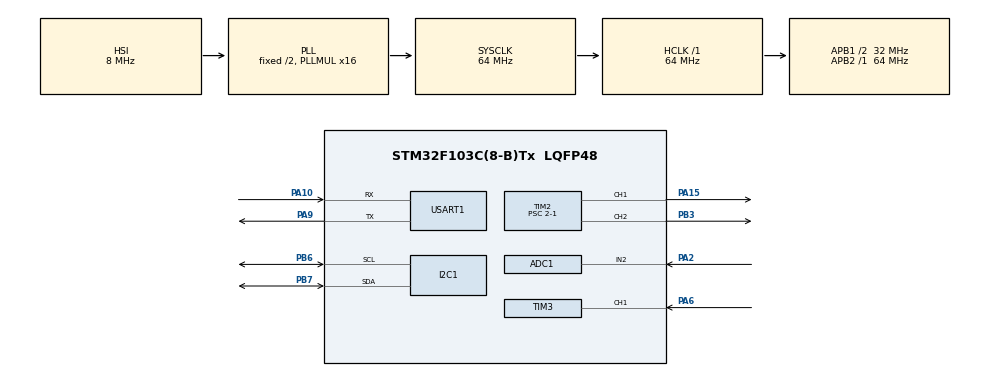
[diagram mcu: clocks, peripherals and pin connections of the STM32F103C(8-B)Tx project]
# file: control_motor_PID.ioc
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ADC1.Channel-2\#ChannelRegularConversion=ADC_CHANNEL_2
ADC1.NbrOfConversionFlag=1
ADC1.Rank-2\#ChannelRegularConversion=1
ADC1.SamplingTime-2\#ChannelRegularConversion=ADC_SAMPLETIME_1CYCLE_5
ADC1.master=1
Mcu.Family=STM32F1
Mcu.Name=STM32F103C(8-B)Tx
Mcu.Package=LQFP48
NVIC.PriorityGroup=NVIC_PRIORITYGROUP_4
NVIC.TIM3_IRQn=true\:0\:0\:false\:false\:true\:true\:true\:true
PA10.Mode=Multiprocessor_communication
PA10.Signal=USART1_RX
PA13.Mode=Serial_Wire
PA13.Signal=SYS_JTMS-SWDIO
PA14.Mode=Serial_Wire
PA14.Signal=SYS_JTCK-SWCLK
PA15.Signal=S_TIM2_CH1_ETR
PA2.Signal=ADCx_IN2
PA6.Signal=S_TIM3_CH1
PA9.Mode=Multiprocessor_communication
PA9.Signal=USART1_TX
PB3.Signal=S_TIM2_CH2
PB6.Mode=I2C
PB6.Signal=I2C1_SCL
PB7.Mode=I2C
PB7.Signal=I2C1_SDA
ProjectManager.HeapSize=0x200
ProjectManager.StackSize=0x400
ProjectManager.TargetToolchain=STM32CubeIDE
RCC.ADCPresc=RCC_ADCPCLK2_DIV6
RCC.AHBFreq_Value=64000000
RCC.APB1CLKDivider=RCC_HCLK_DIV2
RCC.APB1Freq_Value=32000000
RCC.APB1TimFreq_Value=64000000
RCC.APB2Freq_Value=64000000
RCC.APB2TimFreq_Value=64000000
RCC.HCLKFreq_Value=64000000
RCC.PLLMUL=RCC_PLL_MUL16
RCC.SYSCLKFreq_VALUE=64000000
RCC.SYSCLKSource=RCC_SYSCLKSOURCE_PLLCLK
RCC.USBFreq_Value=64000000
SH.ADCx_IN2.0=ADC1_IN2,IN2
SH.S_TIM2_CH1_ETR.0=TIM2_CH1,PWM Generation1 CH1
SH.S_TIM2_CH2.0=TIM2_CH2,PWM Generation2 CH2
SH.S_TIM3_CH1.0=TIM3_CH1,Input_Capture1_from_TI1
TIM2.Channel-PWM\ Generation1\ CH1=TIM_CHANNEL_1
TIM2.Channel-PWM\ Generation2\ CH2=TIM_CHANNEL_2
TIM2.Period=6400-1
TIM2.Prescaler=2-1
TIM3.Channel-Input_Capture1_from_TI1=TIM_CHANNEL_1
USART1.VirtualMode=VM_ASYNC
board=custom

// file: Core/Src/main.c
/* USER CODE BEGIN Header */
/**
  ******************************************************************************
  * @file           : main.c
  * @brief          : Main program body
  ******************************************************************************
  * @attention
  *
  * Copyright (c) 2025 STMicroelectronics.
  * All rights reserved.
  *
  * This software is licensed under terms that can be found in the LICENSE file
  * in the root directory of this software component.
  * If no LICENSE file comes with this software, it is provided AS-IS.
  *
  ******************************************************************************
  */
/* USER CODE END Header */
#include "main.h"

/* USER CODE BEGIN Includes */
#include <stdio.h>
#include "string.h"
#include "i2c_lcd.h"
/* USER CODE END Includes */

/* USER CODE BEGIN PD */
#define PULSES_PER_REV 20 // Encoder: 20 xung/vòng
#define PID_UPDATE_MS 100 // Cập nhật PID mỗi 100 ms
#define PWM_MAX 6399 // Giá trị PWM tối đa (100% duty)
/* USER CODE END PD */

ADC_HandleTypeDef hadc1;

I2C_HandleTypeDef hi2c1;

TIM_HandleTypeDef htim2;
TIM_HandleTypeDef htim3;

UART_HandleTypeDef huart1;

/* USER CODE BEGIN PV */
I2C_LCD_HandleTypeDef lcd;

char uart_buf[50];
char lcd_buf[50];
uint16_t adc_value = 0;
float setpoint_rpm = 0.0f;
float actual_rpm = 0.0f;
uint32_t pwm_value = 0;
volatile uint32_t pulse_count = 0; // �?ếm xung encoder

// Biến PID
float Kp = 2.0f, Ki = 0.1f, Kd = 0.0f;
float integral = 0.0f;
float last_error = 0.0f;

/* USER CODE END PV */

void SystemClock_Config(void);
static void MX_GPIO_Init(void);
static void MX_ADC1_Init(void);
static void MX_I2C1_Init(void);
static void MX_TIM2_Init(void);
static void MX_USART1_UART_Init(void);
static void MX_TIM3_Init(void);
/* USER CODE BEGIN PFP */
float calculate_pid(float setpoint, float actual);
/* USER CODE END PFP */

/* USER CODE BEGIN 0 */

void HAL_TIM_IC_CaptureCallback(TIM_HandleTypeDef *htim)
{
  if (htim->Instance == TIM3 && htim->Channel == HAL_TIM_ACTIVE_CHANNEL_1)
  {
    pulse_count++; // Tăng số xung
    // Debug interrupt
    snprintf(uart_buf, sizeof(uart_buf), "TIM3 Interrupt: Pulse %lu\r\n", pulse_count);
    HAL_UART_Transmit(&huart1, (uint8_t*)uart_buf, strlen(uart_buf), 100);
  }
}
/* USER CODE END 0 */

int main(void)
{

  /* MCU Configuration--------------------------------------------------------*/

  /* Reset of all peripherals, Initializes the Flash interface and the Systick. */
  HAL_Init();

  /* Configure the system clock */
  SystemClock_Config();

  /* Initialize all configured peripherals */
  MX_GPIO_Init();
  MX_ADC1_Init();
  MX_I2C1_Init();
  MX_TIM2_Init();
  MX_USART1_UART_Init();
  MX_TIM3_Init();
  /* USER CODE BEGIN 2 */
  //Init LCD
  lcd.hi2c = &hi2c1;
  lcd.address = 0x4E;
  lcd_init(&lcd);
  lcd_clear(&lcd);

  // Send startup message via UART
  snprintf(uart_buf, sizeof(uart_buf), "System Initialized\r\n");
  HAL_UART_Transmit(&huart1, (uint8_t*)uart_buf, strlen(uart_buf), 100);

  // Hiệu chỉnh ADC
  if (HAL_ADCEx_Calibration_Start(&hadc1) != HAL_OK)
  {
    snprintf(uart_buf, sizeof(uart_buf), "ADC Calibration Failed\r\n");
    HAL_UART_Transmit(&huart1, (uint8_t*)uart_buf, strlen(uart_buf), 100);
    Error_Handler();
  }

  // Khởi động ADC
  if (HAL_ADC_Start(&hadc1) != HAL_OK)
  {
    snprintf(uart_buf, sizeof(uart_buf), "ADC Start Failed\r\n");
    HAL_UART_Transmit(&huart1, (uint8_t*)uart_buf, strlen(uart_buf), 100);
    Error_Handler();
  }

  // Khởi động PWM
  HAL_TIM_PWM_Start(&htim2, TIM_CHANNEL_1); // PA15 - IN1
  HAL_TIM_PWM_Start(&htim2, TIM_CHANNEL_2); // PB3 - IN2 (đặt 0)

  // Khởi động Input Capture cho encoder
  HAL_TIM_IC_Start_IT(&htim3, TIM_CHANNEL_1); // PA6

  /* USER CODE END 2 */

  /* Infinite loop */
  /* USER CODE BEGIN WHILE */
  uint32_t last_update = HAL_GetTick();
  while (1)
  {
    /* USER CODE END WHILE */

    /* USER CODE BEGIN 3 */
	  // Cập nhật mỗi 100 ms
	      if (HAL_GetTick() - last_update >= PID_UPDATE_MS)
	      {
	        // Kiểm tra trạng thái ADC
	        uint32_t adc_state = HAL_ADC_GetState(&hadc1);
	        snprintf(uart_buf, sizeof(uart_buf), "ADC State: %lu\r\n", adc_state);
	        HAL_UART_Transmit(&huart1, (uint8_t*)uart_buf, strlen(uart_buf), 100);

	        // Dừng và khởi động lại ADC
	        HAL_ADC_Stop(&hadc1);
	        if (HAL_ADC_Start(&hadc1) != HAL_OK)
	        {
	          snprintf(uart_buf, sizeof(uart_buf), "ADC Start Failed\r\n");
	          HAL_UART_Transmit(&huart1, (uint8_t*)uart_buf, strlen(uart_buf), 100);
	          continue;
	        }

	        // �?�?c ADC
	        HAL_StatusTypeDef status = HAL_ADC_PollForConversion(&hadc1, 1000);
	        if (status != HAL_OK)
	        {
	          snprintf(uart_buf, sizeof(uart_buf), "ADC Error: %d\r\n", status);
	          HAL_UART_Transmit(&huart1, (uint8_t*)uart_buf, strlen(uart_buf), 100);
	          continue;
	        }
	        adc_value = HAL_ADC_GetValue(&hadc1);
	        setpoint_rpm = ((float)adc_value * 120.0f) / 4095.0f; // �?nh xạ 0–120 rpm

	        // Tính tốc độ thực tế từ encoder
	        uint32_t pulses = pulse_count;
	        pulse_count = 0; // Reset bộ đếm
	        actual_rpm = ((float)pulses * 600.0f) / PULSES_PER_REV; // rpm = (pulses / 20) * (60 / 0.1)

	        // Tính PWM bằng PID
	        float pid_output = calculate_pid(setpoint_rpm, actual_rpm);
	        pwm_value = (uint32_t)(pid_output * PWM_MAX);
	        if (pwm_value > PWM_MAX) pwm_value = PWM_MAX;
	        if (pwm_value < 0) pwm_value = 0;

	        // Cập nhật PWM
	        __HAL_TIM_SET_COMPARE(&htim2, TIM_CHANNEL_1, pwm_value); // IN1 = PWM
	        __HAL_TIM_SET_COMPARE(&htim2, TIM_CHANNEL_2, 0);        // IN2 = 0

	        // Hiển thị trên UART
	        snprintf(uart_buf, sizeof(uart_buf), "Set: %.1f rpm, Act: %.1f rpm\r\n", setpoint_rpm, actual_rpm);
	        HAL_UART_Transmit(&huart1, (uint8_t*)uart_buf, strlen(uart_buf), 100);

	        // Hiển thị trên LCD
	        snprintf(lcd_buf, sizeof(lcd_buf), "Set:%.1f Act:%.1f", setpoint_rpm, actual_rpm);
	        lcd_clear(&lcd);
	        lcd_gotoxy(&lcd, 0, 0);
	        lcd_puts(&lcd, lcd_buf);

	        // Cập nhật th�?i gian
	        last_update = HAL_GetTick();
	      }
  }
  /* USER CODE END 3 */
}

void SystemClock_Config(void)
{
  RCC_OscInitTypeDef RCC_OscInitStruct = {0};
  RCC_ClkInitTypeDef RCC_ClkInitStruct = {0};
  RCC_PeriphCLKInitTypeDef PeriphClkInit = {0};

  /** Initializes the RCC Oscillators according to the specified parameters
  * in the RCC_OscInitTypeDef structure.
  */
  RCC_OscInitStruct.OscillatorType = RCC_OSCILLATORTYPE_HSI;
  RCC_OscInitStruct.HSIState = RCC_HSI_ON;
  RCC_OscInitStruct.HSICalibrationValue = RCC_HSICALIBRATION_DEFAULT;
  RCC_OscInitStruct.PLL.PLLState = RCC_PLL_ON;
  RCC_OscInitStruct.PLL.PLLSource = RCC_PLLSOURCE_HSI_DIV2;
  RCC_OscInitStruct.PLL.PLLMUL = RCC_PLL_MUL16;
  if (HAL_RCC_OscConfig(&RCC_OscInitStruct) != HAL_OK)
  {
    Error_Handler();
  }

  /** Initializes the CPU, AHB and APB buses clocks
  */
  RCC_ClkInitStruct.ClockType = RCC_CLOCKTYPE_HCLK|RCC_CLOCKTYPE_SYSCLK
                              |RCC_CLOCKTYPE_PCLK1|RCC_CLOCKTYPE_PCLK2;
  RCC_ClkInitStruct.SYSCLKSource = RCC_SYSCLKSOURCE_PLLCLK;
  RCC_ClkInitStruct.AHBCLKDivider = RCC_SYSCLK_DIV1;
  RCC_ClkInitStruct.APB1CLKDivider = RCC_HCLK_DIV2;
  RCC_ClkInitStruct.APB2CLKDivider = RCC_HCLK_DIV1;

  if (HAL_RCC_ClockConfig(&RCC_ClkInitStruct, FLASH_LATENCY_2) != HAL_OK)
  {
    Error_Handler();
  }
  PeriphClkInit.PeriphClockSelection = RCC_PERIPHCLK_ADC;
  PeriphClkInit.AdcClockSelection = RCC_ADCPCLK2_DIV6;
  if (HAL_RCCEx_PeriphCLKConfig(&PeriphClkInit) != HAL_OK)
  {
    Error_Handler();
  }
}

static void MX_ADC1_Init(void)
{

  ADC_ChannelConfTypeDef sConfig = {0};

  /** Common config
  */
  hadc1.Instance = ADC1;
  hadc1.Init.ScanConvMode = ADC_SCAN_DISABLE;
  hadc1.Init.ContinuousConvMode = DISABLE;
  hadc1.Init.DiscontinuousConvMode = DISABLE;
  hadc1.Init.ExternalTrigConv = ADC_SOFTWARE_START;
  hadc1.Init.DataAlign = ADC_DATAALIGN_RIGHT;
  hadc1.Init.NbrOfConversion = 1;
  if (HAL_ADC_Init(&hadc1) != HAL_OK)
  {
    Error_Handler();
  }

  /** Configure Regular Channel
  */
  sConfig.Channel = ADC_CHANNEL_2;
  sConfig.Rank = ADC_REGULAR_RANK_1;
  sConfig.SamplingTime = ADC_SAMPLETIME_1CYCLE_5;
  if (HAL_ADC_ConfigChannel(&hadc1, &sConfig) != HAL_OK)
  {
    Error_Handler();
  }

}

static void MX_I2C1_Init(void)
{

  hi2c1.Instance = I2C1;
  hi2c1.Init.ClockSpeed = 100000;
  hi2c1.Init.DutyCycle = I2C_DUTYCYCLE_2;
  hi2c1.Init.OwnAddress1 = 0;
  hi2c1.Init.AddressingMode = I2C_ADDRESSINGMODE_7BIT;
  hi2c1.Init.DualAddressMode = I2C_DUALADDRESS_DISABLE;
  hi2c1.Init.OwnAddress2 = 0;
  hi2c1.Init.GeneralCallMode = I2C_GENERALCALL_DISABLE;
  hi2c1.Init.NoStretchMode = I2C_NOSTRETCH_DISABLE;
  if (HAL_I2C_Init(&hi2c1) != HAL_OK)
  {
    Error_Handler();
  }

}

static void MX_TIM2_Init(void)
{

  TIM_MasterConfigTypeDef sMasterConfig = {0};
  TIM_OC_InitTypeDef sConfigOC = {0};

  htim2.Instance = TIM2;
  htim2.Init.Prescaler = 2-1;
  htim2.Init.CounterMode = TIM_COUNTERMODE_UP;
  htim2.Init.Period = 6400-1;
  htim2.Init.ClockDivision = TIM_CLOCKDIVISION_DIV1;
  htim2.Init.AutoReloadPreload = TIM_AUTORELOAD_PRELOAD_DISABLE;
  if (HAL_TIM_PWM_Init(&htim2) != HAL_OK)
  {
    Error_Handler();
  }
  sMasterConfig.MasterOutputTrigger = TIM_TRGO_RESET;
  sMasterConfig.MasterSlaveMode = TIM_MASTERSLAVEMODE_DISABLE;
  if (HAL_TIMEx_MasterConfigSynchronization(&htim2, &sMasterConfig) != HAL_OK)
  {
    Error_Handler();
  }
  sConfigOC.OCMode = TIM_OCMODE_PWM1;
  sConfigOC.Pulse = 0;
  sConfigOC.OCPolarity = TIM_OCPOLARITY_HIGH;
  sConfigOC.OCFastMode = TIM_OCFAST_DISABLE;
  if (HAL_TIM_PWM_ConfigChannel(&htim2, &sConfigOC, TIM_CHANNEL_1) != HAL_OK)
  {
    Error_Handler();
  }
  if (HAL_TIM_PWM_ConfigChannel(&htim2, &sConfigOC, TIM_CHANNEL_2) != HAL_OK)
  {
    Error_Handler();
  }
  HAL_TIM_MspPostInit(&htim2);

}

static void MX_TIM3_Init(void)
{

  TIM_MasterConfigTypeDef sMasterConfig = {0};
  TIM_IC_InitTypeDef sConfigIC = {0};

  htim3.Instance = TIM3;
  htim3.Init.Prescaler = 0;
  htim3.Init.CounterMode = TIM_COUNTERMODE_UP;
  htim3.Init.Period = 65535;
  htim3.Init.ClockDivision = TIM_CLOCKDIVISION_DIV1;
  htim3.Init.AutoReloadPreload = TIM_AUTORELOAD_PRELOAD_DISABLE;
  if (HAL_TIM_IC_Init(&htim3) != HAL_OK)
  {
    Error_Handler();
  }
  sMasterConfig.MasterOutputTrigger = TIM_TRGO_RESET;
  sMasterConfig.MasterSlaveMode = TIM_MASTERSLAVEMODE_DISABLE;
  if (HAL_TIMEx_MasterConfigSynchronization(&htim3, &sMasterConfig) != HAL_OK)
  {
    Error_Handler();
  }
  sConfigIC.ICPolarity = TIM_INPUTCHANNELPOLARITY_RISING;
  sConfigIC.ICSelection = TIM_ICSELECTION_DIRECTTI;
  sConfigIC.ICPrescaler = TIM_ICPSC_DIV1;
  sConfigIC.ICFilter = 0;
  if (HAL_TIM_IC_ConfigChannel(&htim3, &sConfigIC, TIM_CHANNEL_1) != HAL_OK)
  {
    Error_Handler();
  }

}

static void MX_USART1_UART_Init(void)
{

  huart1.Instance = USART1;
  huart1.Init.BaudRate = 115200;
  huart1.Init.WordLength = UART_WORDLENGTH_8B;
  huart1.Init.StopBits = UART_STOPBITS_1;
  huart1.Init.Parity = UART_PARITY_NONE;
  huart1.Init.Mode = UART_MODE_TX_RX;
  huart1.Init.HwFlowCtl = UART_HWCONTROL_NONE;
  huart1.Init.OverSampling = UART_OVERSAMPLING_16;
  if (HAL_MultiProcessor_Init(&huart1, 0, UART_WAKEUPMETHOD_IDLELINE) != HAL_OK)
  {
    Error_Handler();
  }

}

static void MX_GPIO_Init(void)
{

  /* GPIO Ports Clock Enable */
  __HAL_RCC_GPIOA_CLK_ENABLE();
  __HAL_RCC_GPIOB_CLK_ENABLE();

}

/* USER CODE BEGIN 4 */
float calculate_pid(float setpoint, float actual)
{
  float error = setpoint - actual;
  integral += error * (PID_UPDATE_MS / 1000.0f);
  float derivative = (error - last_error) / (PID_UPDATE_MS / 1000.0f);
  float output = Kp * error + Ki * integral + Kd * derivative;
  last_error = error;

  // Giới hạn output (0–1)
  if (output > 1.0f) output = 1.0f;
  if (output < 0.0f) output = 0.0f;
  return output;
}

/* USER CODE END 4 */

void Error_Handler(void)
{
  __disable_irq();
  while (1)
  {
  }
}
